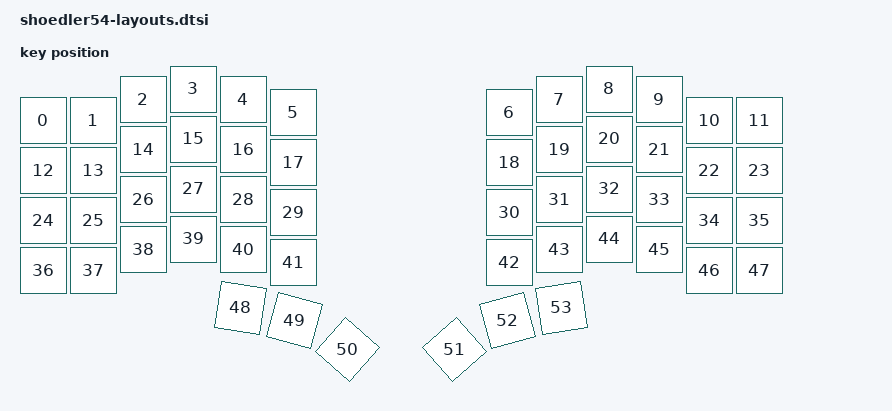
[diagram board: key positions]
#include <physical_layouts.dtsi>

/ {
    shoedler54_layout: shoedler54_layout {
        compatible = "zmk,physical-layout";
        display-name = "Shoedler54";

        keys  //                     w   h    x    y     rot    rx    ry
            = <&key_physical_attrs 100 100    0   63       0     0     0>
            , <&key_physical_attrs 100 100  100   63       0     0     0>
            , <&key_physical_attrs 100 100  200   21       0     0     0>
            , <&key_physical_attrs 100 100  300    0       0     0     0>
            , <&key_physical_attrs 100 100  400   21       0     0     0>
            , <&key_physical_attrs 100 100  500   47       0     0     0>
            , <&key_physical_attrs 100 100  932   47       0     0     0>
            , <&key_physical_attrs 100 100 1032   21       0     0     0>
            , <&key_physical_attrs 100 100 1132    0       0     0     0>
            , <&key_physical_attrs 100 100 1232   21       0     0     0>
            , <&key_physical_attrs 100 100 1332   63       0     0     0>
            , <&key_physical_attrs 100 100 1432   63       0     0     0>
            , <&key_physical_attrs 100 100    0  163       0     0     0>
            , <&key_physical_attrs 100 100  100  163       0     0     0>
            , <&key_physical_attrs 100 100  200  121       0     0     0>
            , <&key_physical_attrs 100 100  300  100       0     0     0>
            , <&key_physical_attrs 100 100  400  121       0     0     0>
            , <&key_physical_attrs 100 100  500  147       0     0     0>
            , <&key_physical_attrs 100 100  932  147       0     0     0>
            , <&key_physical_attrs 100 100 1032  121       0     0     0>
            , <&key_physical_attrs 100 100 1132  100       0     0     0>
            , <&key_physical_attrs 100 100 1232  121       0     0     0>
            , <&key_physical_attrs 100 100 1332  163       0     0     0>
            , <&key_physical_attrs 100 100 1432  163       0     0     0>
            , <&key_physical_attrs 100 100    0  263       0     0     0>
            , <&key_physical_attrs 100 100  100  263       0     0     0>
            , <&key_physical_attrs 100 100  200  221       0     0     0>
            , <&key_physical_attrs 100 100  300  200       0     0     0>
            , <&key_physical_attrs 100 100  400  221       0     0     0>
            , <&key_physical_attrs 100 100  500  247       0     0     0>
            , <&key_physical_attrs 100 100  932  247       0     0     0>
            , <&key_physical_attrs 100 100 1032  221       0     0     0>
            , <&key_physical_attrs 100 100 1132  200       0     0     0>
            , <&key_physical_attrs 100 100 1232  221       0     0     0>
            , <&key_physical_attrs 100 100 1332  263       0     0     0>
            , <&key_physical_attrs 100 100 1432  263       0     0     0>
            , <&key_physical_attrs 100 100    0  363       0     0     0>
            , <&key_physical_attrs 100 100  100  363       0     0     0>
            , <&key_physical_attrs 100 100  200  321       0     0     0>
            , <&key_physical_attrs 100 100  300  300       0     0     0>
            , <&key_physical_attrs 100 100  400  321       0     0     0>
            , <&key_physical_attrs 100 100  500  347       0     0     0>
            , <&key_physical_attrs 100 100  932  347       0     0     0>
            , <&key_physical_attrs 100 100 1032  321       0     0     0>
            , <&key_physical_attrs 100 100 1132  300       0     0     0>
            , <&key_physical_attrs 100 100 1232  321       0     0     0>
            , <&key_physical_attrs 100 100 1332  363       0     0     0>
            , <&key_physical_attrs 100 100 1432  363       0     0     0>
            , <&key_physical_attrs 100 100  395  438     900   445   488>
            , <&key_physical_attrs 100 100  503  463    1600   553   513>
            , <&key_physical_attrs 100 100  609  521    4100   659   571>
            , <&key_physical_attrs 100 100  823  521 (-4100)   873   571>
            , <&key_physical_attrs 100 100  929  463 (-1600)   979   513>
            , <&key_physical_attrs 100 100 1037  438  (-900)  1087   488>
            ;
    };
};
